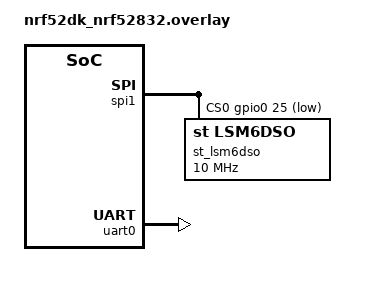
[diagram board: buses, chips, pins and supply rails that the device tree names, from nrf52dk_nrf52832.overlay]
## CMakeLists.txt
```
cmake_minimum_required(VERSION 3.20.0)
find_package(Zephyr REQUIRED HINTS $ENV{ZEPHYR_BASE})

project(application)

target_sources(app PRIVATE src/main.c src/bluetooth.c src/imu.c)
```

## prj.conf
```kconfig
CONFIG_LOG=y
CONFIG_LOG_BACKEND_RTT=y
CONFIG_STDOUT_CONSOLE=y
CONFIG_BT=y
CONFIG_BT_HCI=y
CONFIG_BT_CTLR=y
CONFIG_BT_PERIPHERAL=y
CONFIG_BT_DEVICE_NAME="SP16 Sensor Board"
CONFIG_BT_DEVICE_APPEARANCE=512
CONFIG_BT_EXT_ADV=y
CONFIG_BT_DIS=y
CONFIG_BT_DIS_PNP=y
CONFIG_BT_DIS_MANUF="Nordic Semiconductor ASA"
CONFIG_BT_DIS_PNP_VID_SRC=2
CONFIG_BT_DIS_PNP_VID=0x1915
CONFIG_BT_DIS_PNP_PID=0xEEF1
CONFIG_BT_DIS_PNP_VER=0x0100
CONFIG_DK_LIBRARY=n
CONFIG_BT_CTLR_TX_PWR_PLUS_4=y
```

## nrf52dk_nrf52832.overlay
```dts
&spi1 {
    cs-gpios = <&gpio0 25 (GPIO_ACTIVE_LOW)>;
    st_lsm6dso: st_lsm6dso@0{
        compatible = "st,lsm6dso";
        reg = <0>;
        spi-max-frequency = <10000000>;
        status = "okay";
    };
};
&i2c0 {
    status = "disabled";
};

&spi2 {
    status = "disabled";
};

&uart0 {
    status = "okay";
};

&spi1_default {
    group1 {
        psels = <NRF_PSEL(SPIM_SCK, 0, 26)>,
                <NRF_PSEL(SPIM_MOSI, 0, 27)>,
                <NRF_PSEL(SPIM_MISO, 0, 28)>;
    };
};

&spi1_sleep {
    group1 {
        psels = <NRF_PSEL(SPIM_SCK, 0, 26)>,
                <NRF_PSEL(SPIM_MOSI, 0, 27)>,
                <NRF_PSEL(SPIM_MISO, 0, 28)>;
    };
};
```

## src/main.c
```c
#include "common.h"
#include "bluetooth.h"
#include "imu.h"

LOG_MODULE_REGISTER(MAIN_C, LOG_LEVEL_INF);

int main(){
    // initialize 
    LOG_INF("initializing\n");

    // Wait for the bluetooth subsystem to be ready
    uint8_t err = bluetooth_init();
    if (err) {
        LOG_ERR("Bluetooth init failed (err %d)\n", err);
        return -1;
    }
    imu_main();
}


/*
TODO:
- Add timestamping to setup + packet transmission
- Add calibration SPI Calls
- Calibration:
    - Write 1 to start calibration
    - Write 0 to stop calibration
*/
```

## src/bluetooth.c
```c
#include "common.h"
#include "bluetooth.h"
LOG_MODULE_REGISTER(BLUETOOTH_C, LOG_LEVEL_INF);

//advertising parameters
#define DEVICE_NAME CONFIG_BT_DEVICE_NAME
#define DEVICE_NAME_LEN (sizeof(DEVICE_NAME) - 1)
static struct bt_le_adv_param *adv_param = BT_LE_ADV_PARAM(
	(
		BT_LE_ADV_OPT_CONNECTABLE | BT_LE_ADV_OPT_USE_IDENTITY
	), 		/* Connectable advertising and use identity address */
	800, 	/* Min Advertising Interval 500ms (800*0.625ms) */
	801, 	/* Max Advertising Interval 500.625ms (801*0.625ms) */
	NULL	/* Set to NULL for undirected advertising */
); 

//advertising buffer
static const struct bt_data ad[] = {
	BT_DATA_BYTES(BT_DATA_FLAGS, (BT_LE_AD_GENERAL | BT_LE_AD_NO_BREDR)),
	BT_DATA(BT_DATA_NAME_COMPLETE, DEVICE_NAME, DEVICE_NAME_LEN),

};
//scan buffer
static const struct bt_data sd[] = {
	BT_DATA_BYTES(BT_DATA_UUID128_ALL, BT_UUID_SENSOR_SERVICE_UUID_VAL),
};

//transmission control variables
static bool notify_enabled = false;
static ble_packet_buffer_t _sensor_value;

// Connection management functions and callback table
static void on_connected(struct bt_conn *conn, uint8_t err){
	if (err) {
		LOG_ERR("Connection failed (err %u)\n", err);
		return;
	}
	LOG_INF("Connected to device\n");
}
static void on_disconnected(struct bt_conn *conn, uint8_t reason){
	LOG_INF("Disconnected (reason %u)\n", reason);
}
struct bt_conn_cb connection_callbacks = {
	.connected = on_connected,
	.disconnected = on_disconnected,
};

// Data characteristic callbacks
static void on_data_cccd_change(const struct bt_gatt_attr *attr, uint16_t value){
	LOG_INF("CCCD changed to %i\n", value);
	notify_enabled = (value == BT_GATT_CCC_NOTIFY);
}

// Config characteristic callbacks

static ssize_t on_config_write(
	struct bt_conn *conn, 
	const struct bt_gatt_attr *attr, 
	const void *buf, 
	uint16_t len, 
	uint16_t offset, 
	uint8_t flags
	)
{
	LOG_INF("Config write\n");
	set_calibration_mode(buf, len, offset, flags);
	return 0;
}

// Service Declaration 
BT_GATT_SERVICE_DEFINE(
	service_handle, BT_GATT_PRIMARY_SERVICE(BT_UUID_SENSOR_SERVICE),
	BT_GATT_CHARACTERISTIC(
		BT_UUID_DATA, 
		BT_GATT_CHRC_NOTIFY, 
		BT_GATT_PERM_NONE, 
		NULL,
		NULL, 
		NULL
	),
	BT_GATT_CCC(on_data_cccd_change, BT_GATT_PERM_READ | BT_GATT_PERM_WRITE),
	BT_GATT_CHARACTERISTIC(
		BT_UUID_CONFIG, 
		BT_GATT_CHRC_WRITE, 
		BT_GATT_PERM_WRITE, 
		NULL,
		on_config_write, 
		NULL
	),
);

// Notifier function for sensor data
int8_t transmitData(ble_packet_buffer_t data){
	memcpy(_sensor_value, data, sizeof(ble_packet_buffer_t));
	if (!notify_enabled) {
		// LOG_WRN("Notifications not enabled\n");
		return -EACCES;
	}
	LOG_INF("Transmitting...\n");
	return bt_gatt_notify(NULL, &service_handle.attrs[1], &_sensor_value, sizeof(_sensor_value));
}

// Initialize the Bluetooth subsystem
int8_t bluetooth_init(void) {
	//synchronous enable
	int	err = bt_enable(NULL);
	if (err) {
		LOG_ERR("Bluetooth init failed (err %d)\n", err);
		return -1;
	}
	LOG_INF("Bluetooth initialized\n");

	//register the bt connection callbacks
	bt_conn_cb_register(&connection_callbacks);

	LOG_INF("Bluetooth initialized\n");
	err = bt_le_adv_start(adv_param, ad, ARRAY_SIZE(ad), sd, ARRAY_SIZE(sd));
	if (err) {
		LOG_ERR("Advertising failed to start (err %d)\n", err);
		return -1;
	}

	LOG_INF("Advertising successfully started\n");
	return 0;
}
```

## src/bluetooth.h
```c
#ifndef BLUETOOTH_H
#define BLUETOOTH_H
#include "common.h"

/* Imports */
#include <zephyr/bluetooth/bluetooth.h>
#include <zephyr/bluetooth/hci.h>
#include <zephyr/bluetooth/conn.h>
#include <zephyr/bluetooth/addr.h>
#include <zephyr/bluetooth/uuid.h>
#include <zephyr/bluetooth/gatt.h>
#include <zephyr/bluetooth/gap.h>
#include "imu.h"


/* Config */

//UUID VALUES
#define BT_UUID_SENSOR_SERVICE_UUID_VAL             BT_UUID_128_ENCODE(0x7147ac18, 0xc824, 0x438e, 0x8506, 0x60829fbd96a3)
#define BT_UUID_SENSOR_DATA_UUID_VAL                BT_UUID_128_ENCODE(0xbd148149, 0x4469, 0x479a, 0x856f, 0x497ea5e785e5)
#define BT_UUID_SENSOR_CONFIG_UUID_VAL              BT_UUID_128_ENCODE(0x95f61667, 0xffd9, 0x7d9e, 0xfe41, 0x9aed7794ef2f)

//UUIDS
#define BT_UUID_SENSOR_SERVICE      BT_UUID_DECLARE_128(BT_UUID_SENSOR_SERVICE_UUID_VAL)
#define BT_UUID_DATA                BT_UUID_DECLARE_128(BT_UUID_SENSOR_DATA_UUID_VAL)
#define BT_UUID_CONFIG              BT_UUID_DECLARE_128(BT_UUID_SENSOR_CONFIG_UUID_VAL)

//convenience data formatting macros
#define PACKET_SIZE 16
typedef char ble_packet_buffer_t[PACKET_SIZE];

/** @brief Send the sensor value as notification. 
 * @param[in] sensor_value The sensor value to transmit. Must be less than MAX_TRANSMIT_SIZE
 * @retval 0 If successful
 */
int8_t transmitData(ble_packet_buffer_t data);

/** @brief Initialize the Bluetooth subsystem
 * @retval 0 If successful
 */
int8_t bluetooth_init(void);

#endif
```

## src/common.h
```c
#ifndef COMMON_H
#define COMMON_H

//std macros
#define STACKSIZE 1024
#define STD_CHILD_THREAD_PRIO 7
/* scheduling priority used by each thread */
#define PRIORITY 7


//std imports
#include <stdio.h>
#include <stdbool.h>
#include <stdint.h>
#include <stddef.h>
#include <soc.h>
#include <string.h>
#include <errno.h>
#include <zephyr/kernel.h>
#include <zephyr/types.h>
#include <zephyr/logging/log.h>
#include <zephyr/sys/byteorder.h>





#endif
```

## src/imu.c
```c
#include "imu.h"
#include "bluetooth.h"
LOG_MODULE_REGISTER(IMU_C, LOG_LEVEL_INF);

//device tree spi spec
const struct spi_dt_spec st_lsm6dso = SPI_DT_SPEC_GET(DT_NODELABEL(st_lsm6dso), SPI_OP, 0);

//data buffers for tx/rx
uint8_t tx_data[2] = {0};
uint8_t rx_data[16] = {0};
struct spi_buf spi_tx_buffer = {tx_data, 2};
struct spi_buf spi_rx_buffer = {rx_data, 16};
const struct spi_buf_set tx_buf = {&spi_tx_buffer, 1};
const struct spi_buf_set rx_buf = {&spi_rx_buffer, 1};

// Data buffer for Bluetooth
static ble_packet_buffer_t sensor_value = {0};
#define GYRO_DATA_OFFSET 0 //base of buffer
#define ACCEL_DATA_OFFSET 6 //3 16bit integer offset for gyro
#define TIMESTAMP_OFFSET 12 // 6 16bit integer offset to compensate for gyro and accel
#define SENSOR_VALUE_BASE (sensor_value)
int16_t* gyro_data 		= 		(int16_t*)(SENSOR_VALUE_BASE + GYRO_DATA_OFFSET);
int16_t* accel_data 	= 		(int16_t*)(SENSOR_VALUE_BASE + ACCEL_DATA_OFFSET);
int32_t* timestamp_ptr 	= 		(int32_t*)(SENSOR_VALUE_BASE + TIMESTAMP_OFFSET);

// Config Parameters (Calibration, Timestamp)
static uint8_t calibration_enabled = 0;
static uint8_t calibration_counter = 0;
static int16_t calibration_offsets[6] = {0}; //TODO: Get rid of magic num, 3 for gyro 3 for accel
static int32_t timestamp = 0;

#define GYRO_POLL_FREQ GYRO_104_HZ
#define ACCEL_POLL_FREQ ACCEL_104_HZ
#define SENSOR_TRANSMIT_FREQ 0x64

// Calibration routine for sensor offsets
static void calibrate_sensor(ble_packet_buffer_t data){
	LOG_INF("\nCalibrating: %i\n Old Offsets: [%i,%i,%i,%i,%i,%i]\n New Data: [%i,%i,%i,%i,%i,%i]\n", 
		calibration_counter, calibration_offsets[0], calibration_offsets[1], calibration_offsets[2], 
		calibration_offsets[3], calibration_offsets[4], calibration_offsets[5], 
		((int16_t*)data)[0], ((int16_t*)data)[1], ((int16_t*)data)[2], 
		((int16_t*)data)[3], ((int16_t*)data)[4], ((int16_t*)data)[5]);

	for(uint8_t i = 0; i < 6; i++){
		calibration_offsets[i] = ((calibration_offsets[i]*calibration_counter) + ((int16_t*)data)[i])/(calibration_counter+1);
	}
	//log calibration offsets
	LOG_INF("\n New Calibration Offsets: [%i, %i, %i, %i, %i, %i]\n", 
		calibration_offsets[0], calibration_offsets[1], calibration_offsets[2], 
		calibration_offsets[3], calibration_offsets[4], calibration_offsets[5]);
}

// Callback for Bluetooth
void set_calibration_mode(const void* buf, uint16_t len, uint16_t offset, uint8_t flags){	
	LOG_INF("IMU Config Write Called\n");
	for(uint16_t i = offset; i < len; i++){
		LOG_INF("idx: %i, value: 0x%x ", i, ((uint8_t*)buf)[i]);
	}
	calibration_enabled = ((uint8_t*)buf)[offset];
}

// Helper macro to assemble sensor data out of the SPI buffer 
// per sensor spec for values that are sharded across two registers
#define ASSEMBLE_SENSOR_DATA(spibufset, index) \
	(int16_t)(((uint16_t)((uint8_t *)spibufset.buffers->buf)[index+1]) << 8 | ((uint8_t *)spibufset.buffers->buf)[index]);


static int8_t imu_init(void){
	if(!spi_is_ready_dt(&st_lsm6dso)){
		LOG_ERR("SPI not ready\n");
		return -1;
    }

    // Disable embedded functions and hub sensor
    tx_data[0] = CONFIG(WRITE, FUNC_CFG_ACCESS);
    tx_data[1] = 0x00;
    if(spi_write_dt(&st_lsm6dso, &tx_buf)){
		LOG_ERR("Send failed at line %d, file: %s\n", __LINE__, __FILE__);
		return -1;
    }

    // Verify Who Am I
    // config_reg[0] = CONFIG(READ, WHO_AM_I);
	tx_data[0] = CONFIG(READ, WHO_AM_I);
	tx_data[1] = 0x00; //wipe out the previous data
    if(spi_transceive_dt(&st_lsm6dso, &tx_buf, &rx_buf)){
		LOG_ERR("Send failed at line %d, file: %s\n", __LINE__, __FILE__);
		return -1;
    }
    printf("Chip ID: 0x%x\n", ((uint8_t *)rx_buf.buffers->buf)[1]);
    if(((uint8_t *)rx_buf.buffers->buf)[1] != 0x6C){
		LOG_ERR("Invalid Chip ID, line: %d, file: %s\n", __LINE__, __FILE__);
		return -1;
    }

    
	// Configure Gyroscope to run at 52Hz
    tx_data[0] = CONFIG(WRITE, CTRL2_G);
    tx_data[1] = GYRO_POLL_FREQ;
    if(spi_write_dt(&st_lsm6dso, &tx_buf)){
		LOG_ERR("Send failed, line: %d, file: %s\n", __LINE__, __FILE__);
		return -1;
    }

	// Configure Gyro
	// ODR, FS
	tx_data[0] = CONFIG(WRITE, CTRL2_G);
    tx_data[1] = (
		GYRO_104_HZ | 
		GYRO_250_DPS | 
		GYRO_FS_DPS
	);
    if(spi_write_dt(&st_lsm6dso, &tx_buf)){
		LOG_ERR("Send failed, line: %d, file: %s\n", __LINE__, __FILE__);
		return -1;
    }

	// Gyro LPF 1
	tx_data[0] = CONFIG(WRITE, CTRL4_C);
    tx_data[1] = GYRO_LPF_1_ENABLE;
    if(spi_write_dt(&st_lsm6dso, &tx_buf)){
		LOG_ERR("Send failed, line: %d, file: %s\n", __LINE__, __FILE__);
		return -1;
    }
	tx_data[0] = CONFIG(WRITE, CTRL6_C);
    tx_data[1] = (
		DEN_NONE |
		XL_HM_ENABLE |
		USR_OFF_W_10 |
		G_FTYPE_100
	);
    if(spi_write_dt(&st_lsm6dso, &tx_buf)){
		LOG_ERR("Send failed, line: %d, file: %s\n", __LINE__, __FILE__);
		return -1;
    }

	// High Performance, High Pass, XL_Offset
	tx_data[0] = CONFIG(WRITE, CTRL7_G);
    tx_data[1] = (
		G_HM_ENABLE |
		G_HP_ENABLE |
		G_HP_16_mHZ |
		OIS_ON_SPI |
		XL_OFS_BYPASS |
		OIS_DISABLE
	);
    if(spi_write_dt(&st_lsm6dso, &tx_buf)){
		LOG_ERR("Send failed, line: %d, file: %s\n", __LINE__, __FILE__);
		return -1;
    }

	// Configure Accelerometer
	// ODR, FS, Resolution
	tx_data[0] = CONFIG(WRITE, CTRL1_XL);
	tx_data[1] = (
		ACCEL_POLL_FREQ |
		ACCEL_2G_SCALE_FS_MODE_1 |
		LPF2_XL_ENABLE
	);
	if(spi_write_dt(&st_lsm6dso, &tx_buf)){
		LOG_ERR("Send failed, line: %d, file: %s\n", __LINE__, __FILE__);
		return -1;
	}

	// HP/LPF2 settings
	tx_data[0] = CONFIG(WRITE, CTRL8_XL);
	tx_data[1] = (
		HPCF_XL_000 |
		XL_HP_REF_DISABLE |
		FAST_SETTLE_DISABLE |
		XL_LPF2	|
		XL_FS_MODE_OLD |
		LPF2_6D_DISABLE
	);
	if(spi_write_dt(&st_lsm6dso, &tx_buf)){
		LOG_ERR("Send failed, line: %d, file: %s\n", __LINE__, __FILE__);
		return -1;
	}

	return 0;
}

static void rectify_packet(ble_packet_buffer_t data){
	int16_t* dataptr = (int16_t*)data;
	for(uint8_t i = 0; i < 6; i++){
		dataptr[i] -= calibration_offsets[i];
	}
}

int8_t imu_main(void){
	int8_t err = imu_init();
	if(err){
		LOG_ERR("IMU init failed\n");
		return -1;
	}
    while(1){
		tx_data[0] = CONFIG(READ, SENSOR_GYRO_BASE);
		tx_data[1] = 0x00; //wipe out the previous data
		if(spi_transceive_dt(&st_lsm6dso, &tx_buf, &rx_buf)){
			LOG_ERR("SPI READ FAILED\n");
			continue;
		}
		gyro_data[0] 	= ASSEMBLE_SENSOR_DATA(rx_buf, 1); 	 //Gyro X
		gyro_data[1] 	= ASSEMBLE_SENSOR_DATA(rx_buf, 3); 	 //Gyro Y
		gyro_data[2] 	= ASSEMBLE_SENSOR_DATA(rx_buf, 5); 	 //Gyro Z
		accel_data[0] 	= ASSEMBLE_SENSOR_DATA(rx_buf, 7); 	 //Accel X
		accel_data[1] 	= ASSEMBLE_SENSOR_DATA(rx_buf, 9); 	 //Accel Y
		accel_data[2] 	= ASSEMBLE_SENSOR_DATA(rx_buf, 11);  //Accel Z
		*timestamp_ptr = ++timestamp;
		// LOG_INF("Gyro Data:\nX: %d\nY: %d\nZ: %d\n", gyro_data[0], gyro_data[1], gyro_data[2]);
		// LOG_INF("Accel Data:\nX: %d\nY: %d\nZ: %d\n", accel_data[0], accel_data[1], accel_data[2]);
		if(calibration_counter < UINT8_MAX && calibration_enabled){
			if(calibration_counter == 0) memset(calibration_offsets, 0, sizeof(calibration_offsets));
			calibrate_sensor(sensor_value);
			++calibration_counter;
			timestamp = 0;
		} else {
			calibration_enabled = 0;
			calibration_counter = 0;
			rectify_packet(sensor_value);
			int8_t err = transmitData(sensor_value);
			if(!err){
				LOG_INF("Transmitted Gyro Data:\nX: %d\nY: %d\nZ: %d\n", gyro_data[0], gyro_data[1], gyro_data[2]);
				LOG_INF("Transmitted Accel Data:\nX: %d\nY: %d\nZ: %d\n", accel_data[0], accel_data[1], accel_data[2]);
				LOG_INF("Transmitted Timestamp: %d\n", *timestamp_ptr);
			}
		}

		k_msleep(1000/SENSOR_TRANSMIT_FREQ);
	}
	return 0;
}
```

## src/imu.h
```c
#ifndef IMU_H
#define IMU_H
#include "common.h"
#include <zephyr/drivers/spi.h>


#define SPI_OP  SPI_OP_MODE_MASTER |SPI_MODE_CPOL | SPI_MODE_CPHA | SPI_WORD_SET(8) | SPI_LINES_SINGLE
#define CONFIG(rw, reg) ((rw << 7)|reg)
#define WRITE                  0
#define READ                   1

// Register Addresses
// Control Registers
#define FUNC_CFG_ACCESS     0x01
#define PIN_CTRL            0x02
#define FIFO_CTRL1          0x07
#define FIFO_CTRL2          0x08
#define FIFO_CTRL3          0x09
#define FIFO_CTRL4          0x0A
#define COUNTER_BDR_REG1    0x0B
#define COUNTER_BDR_REG2    0x0C
#define INT1_CTRL           0x0D
#define INT2_CTRL           0x0E
#define WHO_AM_I            0x0F
#define CTRL1_XL            0x10
#define CTRL2_G             0x11
#define CTRL3_C             0x12
#define CTRL4_C             0x13
#define CTRL5_C             0x14
#define CTRL6_C             0x15
#define CTRL7_G             0x16
#define CTRL8_XL            0x17
#define CTRL9_XL            0x18
#define CTRL10_C            0x19

//Data Registers
#define OUTX_L_G            0x22
#define OUTX_H_G            0x23
#define OUTY_L_G            0x24
#define OUTY_H_G            0x25
#define OUTZ_L_G            0x26
#define OUTZ_H_G            0x27
#define SENSOR_GYRO_BASE    OUTX_L_G

#define OUTX_L_A            0x28
#define OUTX_H_A            0x29
#define OUTY_L_A            0x2A
#define OUTY_H_A            0x2B
#define OUTZ_L_A            0x2C
#define OUTZ_H_A            0x2D
#define SENSOR_ACCEL_BASE   OUTX_L_A


// Sensor configuration macros

// Accelerometer ODR configuration - CTRL1_XL
#define ACCEL_OFF       (0x0 << 4)
#define ACCEL_1_6_HZ    (0xb << 4)
#define ACCEL_12_5_HZ   (0x1 << 4)
#define ACCEL_26_HZ     (0x2 << 4)
#define ACCEL_52_HZ     (0x3 << 4)
#define ACCEL_104_HZ    (0x4 << 4)
#define ACCEL_208_HZ    (0x5 << 4)
#define ACCEL_416_HZ    (0x6 << 4)
#define ACCEL_833_HZ    (0x7 << 4)
#define ACCEL_1660_HZ   (0x8 << 4)
#define ACCEL_3330_HZ   (0x9 << 4)
#define ACCEL_6660_HZ   (0xA << 4)

// Accelerometer Scale configuration - CTRL1_XL
#define ACCEL_2G_SCALE_FS_MODE_0  (0b00 << 2) //default
#define ACCEL_2G_SCALE_FS_MODE_1  (0b00 << 2)
#define ACCEL_4G_SCALE_FS_MODE_0  (0b10 << 2)
#define ACCEL_4G_SCALE_FS_MODE_1  (0b10 << 2)
#define ACCEL_8G_SCALE_FS_MODE_0  (0b11 << 2)
#define ACCEL_8G_SCALE_FS_MODE_1  (0b11 << 2)
#define ACCEL_16G_SCALE_FS_MODE_0 (0b01 << 2)

// Accelerometer high-scale resolution selection - CTRL1_XL
#define LPF2_XL_ENABLE  1
#define LPF2_XL_DISABLE 0 //default

// Gyroscope configs - CTRL2_G
#define GYRO_OFF        (0b0000 << 4)
#define GYRO_12_5_HZ    (0b0001 << 4)
#define GYRO_26_HZ      (0b0010 << 4)
#define GYRO_52_HZ      (0b0011 << 4)
#define GYRO_104_HZ     (0b0100 << 4)
#define GYRO_208_HZ     (0b0101 << 4)
#define GYRO_416_HZ     (0b0110 << 4)
#define GYRO_833_HZ     (0b0111 << 4)
#define GYRO_1660_HZ    (0b1000 << 4)
#define GYRO_3330_HZ    (0x1001 << 4)
#define GYRO_6660_HZ    (0x1010 << 4)

#define GYRO_250_DPS    (0b00 << 2)
#define GYRO_500_DPS    (0b01 << 2)
#define GYRO_1000_DPS   (0b10 << 2)
#define GYRO_2000_DPS   (0b11 << 2)

#define GYRO_FS_DPS     0
#define GYRO_150_DPS    1

#define GYRO_LPF_1_DISABLE  (0 << 1)
#define GYRO_LPF_1_ENABLE   (1 << 1)

// CTRL6_C
#define DEN_NONE        (0b000 << 5)
#define DEN_EDGE        (0b100 << 5)
#define DEN_LEVEL_TRIG  (0b010 << 5)
#define DEN_LEVEL_LATCH (0b011 << 5)
#define DEN_LEVEL_FIFO  (0b110 << 5)
#define XL_HM_ENABLE    (0 << 4)
#define XL_HM_DISABLE   (1 << 4)
#define USR_OFF_W_10    (0 << 3)
#define USR_OFF_W_6     (1 << 3)
#define G_FTYPE_000       0
#define G_FTYPE_001       1
#define G_FTYPE_010       2
#define G_FTYPE_011       3
#define G_FTYPE_100       4
#define G_FTYPE_101       5
#define G_FTYPE_110       6
#define G_FTYPE_111       7

// CTRL7_G
#define G_HM_ENABLE     (0 << 7)
#define G_HM_DISABLE    (1 << 7)
#define G_HP_DISABLE    (0 << 6)
#define G_HP_ENABLE     (1 << 6)
#define G_HP_16_mHZ     (0b00 << 4)
#define G_HP_65_mHZ     (0b01 << 4)
#define G_HP_260_mHZ    (0b10 << 4)
#define G_HP_1_04_HZ    (0b11 << 4)
#define OIS_ON_SPI      (0 << 2)
#define OIS_ON_PRI      (1 << 2)
#define XL_OFS_BYPASS   (0 << 1)
#define XL_OFS_ENABLE   (1 << 1)
#define OIS_DISABLE     0
#define OIS_ENABLE      1

// CTRL8_XL
#define HPCF_XL_000         (0b000 << 5)
#define HPCF_XL_001         (0b001 << 5)
#define HPCF_XL_010         (0b010 << 5)
#define HPCF_XL_011         (0b011 << 5)
#define HPCF_XL_100         (0b100 << 5)
#define HPCF_XL_101         (0b101 << 5)
#define HPCF_XL_110         (0b110 << 5)
#define HPCF_XL_111         (0b111 << 5)
#define XL_HP_REF_DISABLE   (0 << 4)
#define XL_HP_REF_ENABLE    (1 << 4)
#define FAST_SETTLE_DISABLE (0 << 3)
#define FAST_SETTLE_ENABLE  (1 << 3)
#define XL_LPF2             (0 << 2)
#define XL_HP_SLOPE         (1 << 2)
#define XL_FS_MODE_OLD      (0 << 1)
#define XL_FS_MODE_NEW      (1 << 1)
#define LPF2_6D_DISABLE     0
#define LPF2_6D_ENABLE      1

// Main function for Sensor Query thread
int8_t imu_main(void);

// Function to put the IMU in calibration mode
void set_calibration_mode(const void *buf, uint16_t len, uint16_t offset, uint8_t flags);

#endif
```
